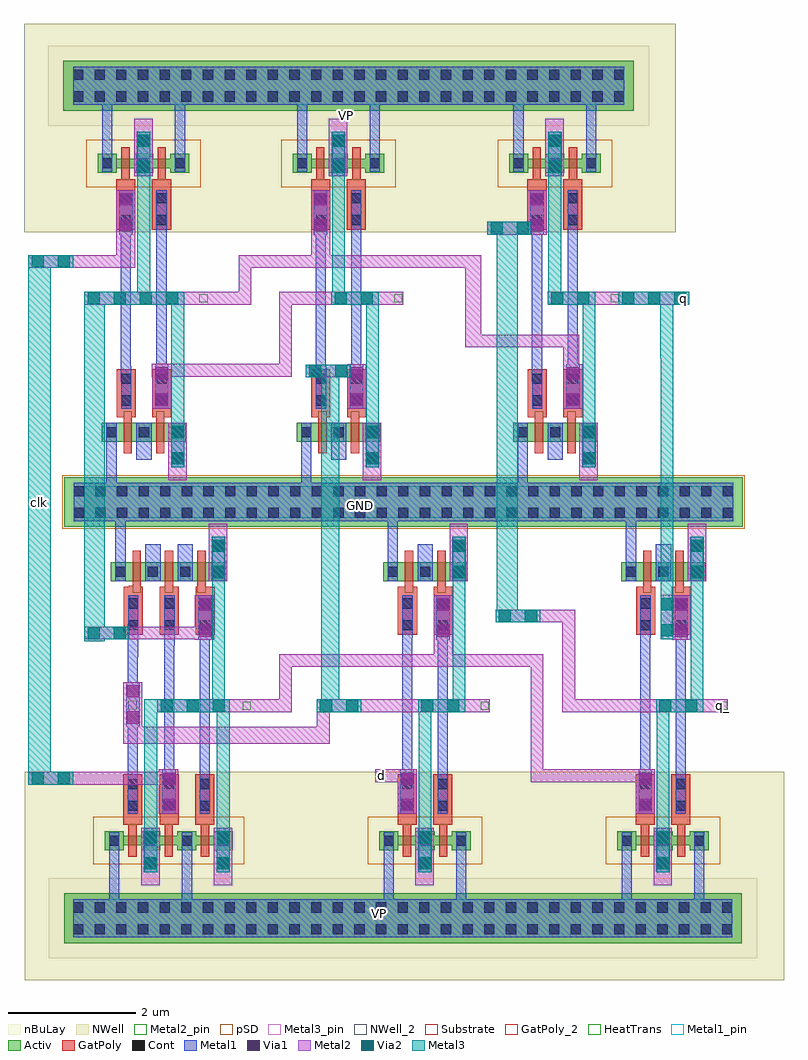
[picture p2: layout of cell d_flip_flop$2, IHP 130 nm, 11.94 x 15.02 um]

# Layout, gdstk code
from math import pi, radians
import gdstk
lib = gdstk.Library(unit=1e-6, precision=1e-09)
def R(c, l, rs):  # rectangles x0, y0, x1, y1
    for r in rs: c.add(gdstk.rectangle(r[:2], r[2:], *l))
def A(c, l, x, y, w, h, nx, ny, dx, dy):  # array of equal rectangles
    R(c, l, [(x+i*dx, y+j*dy, x+i*dx+w, y+j*dy+h) for i in range(nx) for j in range(ny)])
Activ = (1, 0)
GatPoly = (5, 0)
GatPoly_2 = (5, 2)
Cont = (6, 0)
Metal1 = (8, 0)
Metal1_pin = (8, 2)
Metal2 = (10, 0)
Metal2_pin = (10, 2)
pSD = (14, 0)
Via1 = (19, 0)
Via2 = (29, 0)
Metal3 = (30, 0)
Metal3_pin = (30, 2)
NWell = (31, 0)
NWell_2 = (31, 2)
nBuLay = (32, 0)
Substrate = (40, 0)
HeatTrans = (51, 0)

ntap1_1_6 = lib.new_cell('ntap1$1$6')
R(ntap1_1_6, Activ, [(0,0,2.5,0.78)])
A(ntap1_1_6, Cont, 0.15, 0.14, 0.16, 0.16, 7, 2, 0.34, 0.34)
R(ntap1_1_6, Metal1, [(0.15,0.09,2.35,0.69)])
R(ntap1_1_6, Metal1_pin, [(0.15,0.09,2.35,0.69), (0.15,0.14,2.35,0.64)])
R(ntap1_1_6, NWell, [(-0.24,-0.24,2.74,1.02), (0,0,2.5,0.78)])
R(ntap1_1_6, NWell_2, [(0,0,2.5,0.78)])
R(ntap1_1_6, nBuLay, [(-0.24,-0.24,2.74,1.02)])
ntap1_1_6.add(gdstk.Label('well', (1.25,0.01), layer=63, texttype=0))
ntap1_1_6.add(gdstk.Label('well', (1.25,0.01), layer=31, texttype=0))

nmos_14 = lib.new_cell('nmos$14')
A(nmos_14, Activ, 0, 0, 0.3, 0.3, 3, 1, 0.51, 0)
R(nmos_14, Activ, [(0,0,1.32,0.3)])
R(nmos_14, GatPoly, [(0.34,-0.18,0.47,0.48), (0.85,-0.18,0.98,0.48)])
R(nmos_14, GatPoly_2, [(0.34,-0.18,0.47,0.48)])
A(nmos_14, Cont, 0.07, 0.07, 0.16, 0.16, 3, 1, 0.51, 0)
A(nmos_14, Metal1, 0.07, 0, 0.16, 0.3, 3, 1, 0.51, 0)
R(nmos_14, Metal1_pin, [(0.07,0,0.23,0.3), (0.58,0,0.74,0.3)])
R(nmos_14, HeatTrans, [(0.34,-0.18,0.47,0.48), (0.85,-0.18,0.98,0.48)])
nmos_14.add(gdstk.Label('nmos', (0.405,0.15), layer=63, texttype=0))
nmos_14.add(gdstk.Label('nmos', (0.405,0.15), layer=51, texttype=0))
nmos_14.add(gdstk.Label('nmos', (0.915,0.15), layer=51, texttype=0))

ptap1_1_7 = lib.new_cell('ptap1$1$7')
R(ptap1_1_7, Activ, [(0,0,2.5,0.78)])
A(ptap1_1_7, Cont, 0.15, 0.14, 0.16, 0.16, 7, 2, 0.34, 0.34)
R(ptap1_1_7, Metal1, [(0.15,0.09,2.35,0.69), (0.15,0.14,2.35,0.64)])
R(ptap1_1_7, Metal1_pin, [(0.15,0.14,2.35,0.64)])
R(ptap1_1_7, pSD, [(-0.03,-0.03,2.53,0.81)])
R(ptap1_1_7, Substrate, [(0,0,2.5,0.78)])
ptap1_1_7.add(gdstk.Label('sub!', (1.25,0.01), layer=63, texttype=0))
ptap1_1_7.add(gdstk.Label('sub!', (1.25,0.01), layer=40, texttype=0))

via_8_2 = lib.new_cell('Via$8$2')
R(via_8_2, Metal2, [(-0.1,-0.35,0.1,0.35)])
R(via_8_2, Via2, [(-0.095,-0.3,0.095,-0.11), (-0.095,0.11,0.095,0.3)])
R(via_8_2, Metal3, [(-0.1,-0.35,0.1,0.35)])

via_10_4 = lib.new_cell('Via$10$4')
R(via_10_4, Metal1, [(-0.105,-0.35,0.105,0.35)])
R(via_10_4, Metal2, [(-0.1,-0.35,0.1,0.35)])
R(via_10_4, Via1, [(-0.095,-0.3,0.095,-0.11), (-0.095,0.11,0.095,0.3)])

via_6_8 = lib.new_cell('Via$6$8')
R(via_6_8, GatPoly, [(-0.32,-0.15,0.32,0.15)])
R(via_6_8, Cont, [(-0.25,-0.08,-0.09,0.08), (0.09,-0.08,0.25,0.08)])
R(via_6_8, Metal1, [(-0.3,-0.08,0.3,0.08)])

pmos_12 = lib.new_cell('pmos$12')
A(pmos_12, Activ, 0, 0, 0.3, 0.3, 3, 1, 0.57, 0)
R(pmos_12, Activ, [(0,0.075,1.44,0.225)])
R(pmos_12, GatPoly, [(0.37,-0.105,0.5,0.405), (0.37,-0.105,0.5,0.405), (0.94,-0.105,1.07,0.405)])
A(pmos_12, Cont, 0.07, 0.07, 0.16, 0.16, 3, 1, 0.57, 0)
R(pmos_12, Metal1, [(0.07,0.02,0.23,0.28), (0.07,0.02,0.23,0.28), (0.64,0.02,0.8,0.28), (0.64,0.02,0.8,0.28), (1.21,0.02,1.37,0.28)])
R(pmos_12, pSD, [(-0.18,-0.225,1.62,0.525)])
R(pmos_12, NWell, [(-0.31,-0.31,1.75,0.61)])
R(pmos_12, Substrate, [(1.14,0,1.44,0.3)])
R(pmos_12, HeatTrans, [(0.37,-0.105,0.5,0.405), (0.94,-0.105,1.07,0.405)])
pmos_12.add(gdstk.Label('pmos', (0.435,0.15), layer=63, texttype=0))
pmos_12.add(gdstk.Label('pmos', (0.435,0.15), layer=51, texttype=0))
pmos_12.add(gdstk.Label('pmos', (1.005,0.15), layer=51, texttype=0))

nand_2in_nmosx2_7 = lib.new_cell('NAND_2in_nmosx2$7')
R(nand_2in_nmosx2_7, GatPoly, [(0.605,-3.005,0.905,-2.895), (1.165,-3.005,1.465,-2.895), (0.6,0.58,0.9,0.73), (1.16,0.58,1.46,0.73), (0.68,0.68,0.81,0.77), (1.25,0.68,1.38,0.77)])
R(nand_2in_nmosx2_7, Metal1, [(0.445,-4.15,0.605,-3.37), (0.915,-3.675,1.155,-3.415), (0.915,-3.435,1.155,-3.095), (0.67,-2.44,0.835,-2.21), (0.67,-2.21,0.83,-1.27), (1.23,-2.21,1.39,-1.27), (0.67,-1.31,0.83,-0.37), (1.23,-1.31,1.39,-0.37), (0.67,-0.37,0.83,-0.12), (1.23,-0.37,1.39,-0.01), (1.52,1,1.68,1.2), (0.38,1.01,0.54,1.15), (0.38,1.115,0.54,1.99), (1.52,1.115,1.68,1.94)])
R(nand_2in_nmosx2_7, Metal1_pin, [(0.44,-4.395,0.57,-4.265), (0.4,2.15,0.53,2.28)])
R(nand_2in_nmosx2_7, Metal2, [(1.415,-3.995,1.705,-3.795), (1.415,-3.795,1.705,-3.095), (1.165,-2.875,1.465,-2.175), (1.62,-1.24,2.05,-1.04), (0.6,-0.14,0.9,0.56), (0.88,0.78,1.17,0.98), (0.88,0.98,1.17,1.68)])
R(nand_2in_nmosx2_7, Metal2_pin, [(1.255,-2.345,1.385,-2.215), (1.905,-1.205,2.035,-1.075), (0.69,-0.1,0.82,0.03)])
R(nand_2in_nmosx2_7, Metal3, [(1.465,-3.105,1.665,-2.905), (1.465,-2.905,1.665,-1.045), (0.93,-1.09,1.13,0.17), (0.93,0.1,1.13,0.62), (0.93,0.62,1.13,0.72), (0.93,0.71,1.13,0.87)])
R(nand_2in_nmosx2_7, NWell, [(-0.85,-0.1,2.93,3.17)])
nand_2in_nmosx2_7.add(gdstk.Reference(ntap1_1_6, (-0.23,1.81)))
nand_2in_nmosx2_7.add(gdstk.Reference(nmos_14, (1.695,-3.095), rotation=pi))
nand_2in_nmosx2_7.add(gdstk.Reference(ptap1_1_7, (-0.22,-4.73)))
nand_2in_nmosx2_7.add(gdstk.Reference(via_8_2, (1.27,-1.14), rotation=3*pi/2))
nand_2in_nmosx2_7.add(gdstk.Reference(via_10_4, (1.565,-3.445), rotation=pi))
nand_2in_nmosx2_7.add(gdstk.Reference(via_10_4, (1.315,-2.525), rotation=pi))
nand_2in_nmosx2_7.add(gdstk.Reference(via_10_4, (0.75,0.21), rotation=pi))
nand_2in_nmosx2_7.add(gdstk.Reference(via_10_4, (1.03,1.13), rotation=pi))
nand_2in_nmosx2_7.add(gdstk.Reference(via_6_8, (0.755,-2.575), rotation=3*pi/2))
nand_2in_nmosx2_7.add(gdstk.Reference(via_6_8, (1.315,-2.575), rotation=3*pi/2))
nand_2in_nmosx2_7.add(gdstk.Reference(via_6_8, (0.75,0.26), rotation=3*pi/2))
nand_2in_nmosx2_7.add(gdstk.Reference(via_6_8, (1.31,0.26), rotation=3*pi/2))
nand_2in_nmosx2_7.add(gdstk.Reference(via_8_2, (1.565,-3.445), rotation=pi))
nand_2in_nmosx2_7.add(gdstk.Reference(via_8_2, (1.03,1.13), rotation=pi))
nand_2in_nmosx2_7.add(gdstk.Reference(pmos_12, (1.75,1.13), rotation=pi))
nand_2in_nmosx2_7.add(gdstk.Label('VP', (0.46,2.21), layer=8, texttype=25))
nand_2in_nmosx2_7.add(gdstk.Label('GND', (0.505,-4.325), layer=8, texttype=25))
nand_2in_nmosx2_7.add(gdstk.Label('y', (1.97,-1.14), layer=10, texttype=25))
nand_2in_nmosx2_7.add(gdstk.Label('b', (0.75,-0.04), layer=10, texttype=25))
nand_2in_nmosx2_7.add(gdstk.Label('a', (1.315,-2.285), layer=10, texttype=25))

via_11_2 = lib.new_cell('Via$11$2')
R(via_11_2, Metal2, [(-0.1,-0.555,0.1,0.555)])
A(via_11_2, Via2, -0.095, -0.505, 0.19, 0.19, 1, 3, 0, 0.41)
R(via_11_2, Metal3, [(-0.1,-0.555,0.1,0.555)])

nmos_2_4 = lib.new_cell('nmos$2$4')
A(nmos_2_4, Activ, 0, 0, 0.3, 0.3, 4, 1, 0.51, 0)
R(nmos_2_4, Activ, [(0,0,1.83,0.3)])
A(nmos_2_4, GatPoly, 0.34, -0.18, 0.13, 0.66, 3, 1, 0.51, 0)
R(nmos_2_4, GatPoly_2, [(0.34,-0.18,0.47,0.48)])
A(nmos_2_4, Cont, 0.07, 0.07, 0.16, 0.16, 4, 1, 0.51, 0)
A(nmos_2_4, Metal1, 0.07, 0, 0.16, 0.3, 4, 1, 0.51, 0)
R(nmos_2_4, Metal1_pin, [(0.07,0,0.23,0.3), (0.58,0,0.74,0.3)])
A(nmos_2_4, HeatTrans, 0.34, -0.18, 0.13, 0.66, 3, 1, 0.51, 0)
nmos_2_4.add(gdstk.Label('nmos', (0.405,0.15), layer=63, texttype=0))
nmos_2_4.add(gdstk.Label('nmos', (0.405,0.15), layer=51, texttype=0))
nmos_2_4.add(gdstk.Label('nmos', (0.915,0.15), layer=51, texttype=0))
nmos_2_4.add(gdstk.Label('nmos', (1.425,0.15), layer=51, texttype=0))

ntap1_6 = lib.new_cell('ntap1$6')
R(ntap1_6, Activ, [(0,0,3.5,0.78)])
A(ntap1_6, Cont, 0.14, 0.14, 0.16, 0.16, 10, 2, 0.34, 0.34)
R(ntap1_6, Metal1, [(0.14,0.09,3.36,0.69)])
R(ntap1_6, Metal1_pin, [(0.14,0.09,3.36,0.69), (0.14,0.14,3.36,0.64)])
R(ntap1_6, NWell, [(-0.24,-0.24,3.74,1.02), (0,0,3.5,0.78)])
R(ntap1_6, NWell_2, [(0,0,3.5,0.78)])
R(ntap1_6, nBuLay, [(-0.24,-0.24,3.74,1.02)])
ntap1_6.add(gdstk.Label('well', (1.75,0.01), layer=63, texttype=0))
ntap1_6.add(gdstk.Label('well', (1.75,0.01), layer=31, texttype=0))

ptap1_4 = lib.new_cell('ptap1$4')
R(ptap1_4, Activ, [(0,0,3.5,0.78)])
A(ptap1_4, Cont, 0.14, 0.14, 0.16, 0.16, 10, 2, 0.34, 0.34)
R(ptap1_4, Metal1, [(0.14,0.09,3.36,0.69), (0.14,0.14,3.36,0.64)])
R(ptap1_4, Metal1_pin, [(0.14,0.14,3.36,0.64)])
R(ptap1_4, pSD, [(-0.03,-0.03,3.53,0.81)])
R(ptap1_4, Substrate, [(0,0,3.5,0.78)])
ptap1_4.add(gdstk.Label('sub!', (1.75,0.01), layer=63, texttype=0))
ptap1_4.add(gdstk.Label('sub!', (1.75,0.01), layer=40, texttype=0))

pmos_2_4 = lib.new_cell('pmos$2$4')
A(pmos_2_4, Activ, 0, 0, 0.3, 0.3, 4, 1, 0.57, 0)
R(pmos_2_4, Activ, [(0,0.075,2.01,0.225)])
A(pmos_2_4, GatPoly, 0.37, -0.105, 0.13, 0.51, 3, 1, 0.57, 0)
R(pmos_2_4, GatPoly, [(0.37,-0.105,0.5,0.405)])
A(pmos_2_4, Cont, 0.07, 0.07, 0.16, 0.16, 4, 1, 0.57, 0)
A(pmos_2_4, Metal1, 0.64, 0.02, 0.16, 0.26, 3, 1, 0.57, 0)
R(pmos_2_4, Metal1, [(0.07,0.02,0.23,0.28), (0.07,0.02,0.23,0.28), (0.64,0.02,0.8,0.28)])
R(pmos_2_4, pSD, [(-0.18,-0.225,2.19,0.525)])
R(pmos_2_4, NWell, [(-0.31,-0.31,2.32,0.61)])
R(pmos_2_4, Substrate, [(1.71,0,2.01,0.3)])
A(pmos_2_4, HeatTrans, 0.37, -0.105, 0.13, 0.51, 3, 1, 0.57, 0)
pmos_2_4.add(gdstk.Label('pmos', (0.435,0.15), layer=63, texttype=0))
pmos_2_4.add(gdstk.Label('pmos', (0.435,0.15), layer=51, texttype=0))
pmos_2_4.add(gdstk.Label('pmos', (1.005,0.15), layer=51, texttype=0))
pmos_2_4.add(gdstk.Label('pmos', (1.575,0.15), layer=51, texttype=0))

nand_3in_nmosx3_10 = lib.new_cell('NAND_3in_nmosx3$10')
R(nand_3in_nmosx3_10, GatPoly, [(0.115,-3.025,0.245,-2.915), (0.685,-3.025,0.815,-2.915), (0.035,-3.005,0.335,-2.895), (0.605,-3.005,0.905,-2.895), (1.165,-3.005,1.465,-2.895), (0.03,0.58,0.33,0.73), (0.6,0.58,0.9,0.73), (1.16,0.58,1.46,0.73), (0.68,0.68,0.81,0.77), (1.25,0.68,1.38,0.77)])
R(nand_3in_nmosx3_10, Metal1, [(-0.095,-4.15,0.065,-3.37), (0.375,-3.675,0.615,-3.415), (0.885,-3.675,1.125,-3.415), (0.375,-3.435,0.615,-3.095), (0.885,-3.435,1.125,-3.095), (0.67,-2.44,0.835,-2.09), (0.1,-2.42,0.265,-1.91), (0.67,-2.21,0.83,-1.27), (1.23,-2.21,1.39,-1.27), (0.1,-1.91,0.26,-0.56), (0.67,-1.31,0.83,-0.37), (1.23,-1.31,1.39,-0.37), (0.1,-0.62,0.26,-0.04), (1.23,-0.53,1.39,0), (0.67,-0.37,0.83,-0.11), (0.95,1,1.11,1.2), (-0.19,1.01,-0.03,1.15), (-0.19,1.115,-0.03,1.99), (0.95,1.115,1.11,1.94)])
R(nand_3in_nmosx3_10, Metal1_pin, [(0.44,-4.405,0.57,-4.275), (0.74,2.15,0.87,2.28)])
R(nand_3in_nmosx3_10, Metal2, [(1.375,-3.995,1.665,-3.795), (1.375,-3.795,1.665,-3.095), (1.155,-2.875,1.455,-2.175), (0.03,-1.51,0.33,-0.81), (1.62,-1.24,2.05,-1.04), (0.59,-0.14,0.89,0.56), (0.31,0.78,0.6,0.98), (1.45,0.78,1.74,0.98), (0.31,0.98,0.6,1.68), (1.45,0.98,1.74,1.68)])
R(nand_3in_nmosx3_10, Metal2_pin, [(1.255,-2.385,1.385,-2.255), (0.11,-1.215,0.24,-1.085), (1.905,-1.205,2.035,-1.075), (0.69,-0.07,0.82,0.06)])
R(nand_3in_nmosx3_10, Metal3, [(1.425,-3.105,1.625,-2.905), (1.425,-2.905,1.625,-2.5), (1.425,-2.5,1.625,-1.15), (0.36,-1.24,0.56,-0.97), (0.38,-1.24,0.565,-1.04), (1.66,-1.24,1.7,-1.09), (1.5,-1.09,1.7,0.17), (0.36,-0.97,0.56,0.26), (1.5,-0.03,1.7,0.62), (0.36,0.08,0.56,0.78), (1.5,0.62,1.7,0.72), (1.5,0.71,1.7,0.87)])
R(nand_3in_nmosx3_10, NWell, [(-1.52,-0.1,-0.85,3.17), (-0.85,-0.1,2.93,3.17)])
nand_3in_nmosx3_10.add(gdstk.Reference(via_10_4, (1.525,-3.445), rotation=pi))
nand_3in_nmosx3_10.add(gdstk.Reference(via_10_4, (1.315,-2.525), rotation=pi))
nand_3in_nmosx3_10.add(gdstk.Reference(via_10_4, (0.18,-1.16), rotation=pi))
nand_3in_nmosx3_10.add(gdstk.Reference(via_10_4, (0.75,0.21), rotation=pi))
nand_3in_nmosx3_10.add(gdstk.Reference(via_10_4, (0.46,1.13), rotation=pi))
nand_3in_nmosx3_10.add(gdstk.Reference(via_10_4, (1.6,1.13), rotation=pi))
nand_3in_nmosx3_10.add(gdstk.Reference(via_11_2, (1.12,-1.14), rotation=3*pi/2))
nand_3in_nmosx3_10.add(gdstk.Reference(nmos_2_4, (1.665,-3.095), rotation=pi))
nand_3in_nmosx3_10.add(gdstk.Reference(ntap1_6, (-0.9,1.81)))
nand_3in_nmosx3_10.add(gdstk.Reference(ptap1_4, (-0.89,-4.73)))
nand_3in_nmosx3_10.add(gdstk.Reference(via_8_2, (1.525,-3.445), rotation=pi))
nand_3in_nmosx3_10.add(gdstk.Reference(via_8_2, (0.46,1.13), rotation=pi))
nand_3in_nmosx3_10.add(gdstk.Reference(via_8_2, (1.6,1.13), rotation=pi))
nand_3in_nmosx3_10.add(gdstk.Reference(via_6_8, (0.185,-2.575), rotation=3*pi/2))
nand_3in_nmosx3_10.add(gdstk.Reference(via_6_8, (0.755,-2.575), rotation=3*pi/2))
nand_3in_nmosx3_10.add(gdstk.Reference(via_6_8, (1.315,-2.575), rotation=3*pi/2))
nand_3in_nmosx3_10.add(gdstk.Reference(via_6_8, (0.18,0.26), rotation=3*pi/2))
nand_3in_nmosx3_10.add(gdstk.Reference(via_6_8, (0.75,0.26), rotation=3*pi/2))
nand_3in_nmosx3_10.add(gdstk.Reference(via_6_8, (1.31,0.26), rotation=3*pi/2))
nand_3in_nmosx3_10.add(gdstk.Reference(pmos_2_4, (1.75,1.13), rotation=pi))
nand_3in_nmosx3_10.add(gdstk.Label('VP', (0.8,2.21), layer=8, texttype=25))
nand_3in_nmosx3_10.add(gdstk.Label('GND', (0.505,-4.335), layer=8, texttype=25))
nand_3in_nmosx3_10.add(gdstk.Label('y', (1.97,-1.14), layer=10, texttype=25))
nand_3in_nmosx3_10.add(gdstk.Label('b', (0.76,0.02), layer=10, texttype=25))
nand_3in_nmosx3_10.add(gdstk.Label('c', (0.17,-1.15), layer=10, texttype=25))
nand_3in_nmosx3_10.add(gdstk.Label('a', (1.315,-2.325), layer=10, texttype=25))

ntap1_3_2 = lib.new_cell('ntap1$3$2')
R(ntap1_3_2, Activ, [(0,0,1.8,0.78)])
A(ntap1_3_2, Cont, 0.14, 0.14, 0.16, 0.16, 5, 2, 0.34, 0.34)
R(ntap1_3_2, Metal1, [(0.14,0.09,1.66,0.69)])
R(ntap1_3_2, Metal1_pin, [(0.14,0.09,1.66,0.69), (0.14,0.14,1.66,0.64)])
R(ntap1_3_2, NWell, [(-0.24,-0.24,2.04,1.02), (0,0,1.8,0.78)])
R(ntap1_3_2, NWell_2, [(0,0,1.8,0.78)])
R(ntap1_3_2, nBuLay, [(-0.24,-0.24,2.04,1.02)])
ntap1_3_2.add(gdstk.Label('well', (0.9,0.01), layer=63, texttype=0))
ntap1_3_2.add(gdstk.Label('well', (0.9,0.01), layer=31, texttype=0))

via_36 = lib.new_cell('Via$36')
R(via_36, Metal2, [(-0.35,-0.1,0.35,0.1)])
R(via_36, Via2, [(-0.3,-0.095,-0.11,0.095), (0.11,-0.095,0.3,0.095)])
R(via_36, Metal3, [(-0.35,-0.1,0.35,0.1)])

via_12_2 = lib.new_cell('Via$12$2')
R(via_12_2, Metal2, [(-0.555,-0.1,0.555,0.1)])
A(via_12_2, Via2, -0.505, -0.095, 0.19, 0.19, 3, 1, 0.41, 0)
R(via_12_2, Metal3, [(-0.555,-0.1,0.555,0.1)])

via_13_3 = lib.new_cell('Via$13$3')
R(via_13_3, Metal2, [(-0.76,-0.1,0.76,0.1)])
A(via_13_3, Via2, -0.71, -0.095, 0.19, 0.19, 4, 1, 0.41, 0)
R(via_13_3, Metal3, [(-0.76,-0.1,0.76,0.1)])

ntap1_2_9 = lib.new_cell('ntap1$2$9')
R(ntap1_2_9, Activ, [(0,0,2,0.78)])
A(ntap1_2_9, Cont, 0.07, 0.14, 0.16, 0.16, 6, 2, 0.34, 0.34)
R(ntap1_2_9, Metal1, [(0.07,0.09,1.93,0.69)])
R(ntap1_2_9, Metal1_pin, [(0.07,0.09,1.93,0.69), (0.07,0.14,1.93,0.64)])
R(ntap1_2_9, NWell, [(-0.24,-0.24,2.24,1.02), (0,0,2,0.78)])
R(ntap1_2_9, NWell_2, [(0,0,2,0.78)])
R(ntap1_2_9, nBuLay, [(-0.24,-0.24,2.24,1.02)])
ntap1_2_9.add(gdstk.Label('well', (1,0.01), layer=63, texttype=0))
ntap1_2_9.add(gdstk.Label('well', (1,0.01), layer=31, texttype=0))

d_flip_flop_2 = lib.new_cell('d_flip_flop$2')
R(d_flip_flop_2, Metal1_pin, [(5.305,-5.04,5.435,-4.91), (4.995,1.37,5.125,1.5), (4.785,7.96,4.915,8.09)])
R(d_flip_flop_2, Metal2, [(-0.15,-2.95,1.29,-2.75), (1.29,-2.95,1.96,-2.75), (5.3,-2.91,5.88,-2.71), (7.74,-2.91,9.52,-2.71), (7.74,-2.81,7.94,-2.31), (1.34,-2.31,1.6,-2.04), (1.36,-2.31,4.58,-2.04), (7.74,-2.31,7.94,-1.39), (4.38,-2.13,4.585,-1.73), (3.36,-1.81,3.94,-1.61), (3.79,-1.81,3.99,-1.39), (4.38,-1.81,4.67,-1.61), (4.67,-1.81,6.02,-1.61), (8.24,-1.81,8.44,-0.89), (8.27,-1.81,9.71,-1.61), (3.79,-1.39,3.99,-0.91), (7.74,-1.39,7.94,-0.91), (3.79,-1.1,4.07,-0.9), (4.07,-1.1,4.65,-0.9), (4.65,-1.1,6.26,-0.9), (6.16,-1.1,7.94,-0.9), (6.215,-0.94,6.515,-0.675), (8.24,-0.89,8.44,-0.2), (1.38,-0.67,2.58,-0.47), (7.69,-0.4,8.27,-0.2), (1.79,3.46,3.17,3.66), (3.17,3.46,3.99,3.66), (3.79,3.53,3.99,4.17), (8.255,3.655,8.505,4.12), (6.71,3.92,6.96,5.17), (6.71,3.92,7.72,4.12), (7.72,3.92,8.47,4.12), (3.79,4.17,3.99,4.59), (2.465,4.59,3.35,4.79), (3.79,4.59,4.61,4.79), (9.14,4.59,10.17,4.79), (3.15,4.79,3.35,5.21), (0.13,5.17,0.61,5.37), (0.61,5.17,1.48,5.37), (1.23,5.17,1.53,5.19), (3.15,5.17,3.67,5.37), (3.67,5.17,4.54,5.37), (4.22,5.17,6.21,5.37), (6.21,5.17,6.96,5.37), (1.23,5.19,1.53,5.69), (4.29,5.29,4.59,5.69)])
R(d_flip_flop_2, Metal2_pin, [(5.325,-2.88,5.455,-2.75), (10.695,-1.775,10.825,-1.645), (10.075,4.625,10.205,4.755)])
R(d_flip_flop_2, Metal3, [(-0.15,-2.85,0.2,-2.45), (-0.15,-2.45,0.2,4.28), (4.45,-1.81,4.73,2.56), (0.73,-0.7,1.05,3.6), (9.78,-0.47,9.98,3.76), (7.205,-0.4,7.54,4.77), (4.45,2.56,4.73,3.49), (0.73,3.6,1.05,4.69), (9.775,3.76,9.98,4.69), (-0.15,4.28,0.2,5.23), (7.205,4.77,7.54,5.76)])
R(d_flip_flop_2, Metal3_pin, [(-0.045,1.42,0.085,1.55)])
d_flip_flop_2.add(gdstk.Reference(nand_2in_nmosx2_7, (5.05,-2.85), x_reflection=True))
d_flip_flop_2.add(gdstk.Reference(nand_3in_nmosx3_10, (1.31,-2.85), x_reflection=True))
d_flip_flop_2.add(gdstk.Reference(nand_2in_nmosx2_7, (7.09,5.83)))
d_flip_flop_2.add(gdstk.Reference(nand_2in_nmosx2_7, (0.63,5.83)))
d_flip_flop_2.add(gdstk.Reference(nand_2in_nmosx2_7, (8.79,-2.85), x_reflection=True))
d_flip_flop_2.add(gdstk.Reference(ntap1_3_2, (2.45,7.64)))
d_flip_flop_2.add(gdstk.Reference(ntap1_3_2, (5.51,7.64)))
d_flip_flop_2.add(gdstk.Reference(via_36, (0.2,-2.85), rotation=pi))
d_flip_flop_2.add(gdstk.Reference(via_36, (0.2,5.27), rotation=pi))
d_flip_flop_2.add(gdstk.Reference(nand_2in_nmosx2_7, (3.69,5.83)))
d_flip_flop_2.add(gdstk.Reference(via_12_2, (9.68,4.69), rotation=pi))
d_flip_flop_2.add(gdstk.Reference(via_8_2, (9.88,-0.32), rotation=pi))
d_flip_flop_2.add(gdstk.Reference(via_36, (1.08,-0.57), rotation=pi))
d_flip_flop_2.add(gdstk.Reference(via_13_3, (1.49,4.69), rotation=pi))
d_flip_flop_2.add(gdstk.Reference(via_36, (7.54,-0.3), rotation=pi))
d_flip_flop_2.add(gdstk.Reference(via_36, (7.41,5.79), rotation=pi))
d_flip_flop_2.add(gdstk.Reference(via_36, (4.73,-1.71), rotation=pi))
d_flip_flop_2.add(gdstk.Reference(via_36, (4.56,3.55), rotation=pi))
d_flip_flop_2.add(gdstk.Reference(ntap1_3_2, (3.47,-5.44)))
d_flip_flop_2.add(gdstk.Reference(ntap1_2_9, (6.94,-5.44)))
d_flip_flop_2.add(gdstk.Label('VP', (5.37,-4.98), layer=8, texttype=25))
d_flip_flop_2.add(gdstk.Label('VP', (4.85,7.56), layer=8, texttype=25))
d_flip_flop_2.add(gdstk.Label('GND', (5.06,1.43), layer=8, texttype=25))
d_flip_flop_2.add(gdstk.Label('q', (10.14,4.69), layer=10, texttype=25))
d_flip_flop_2.add(gdstk.Label('d', (5.39,-2.81), layer=10, texttype=25))
d_flip_flop_2.add(gdstk.Label('q_', (10.76,-1.71), layer=10, texttype=25))
d_flip_flop_2.add(gdstk.Label('clk', (0.02,1.48), layer=30, texttype=25))

lib.write_gds('d_flip_flop_2.gds')
